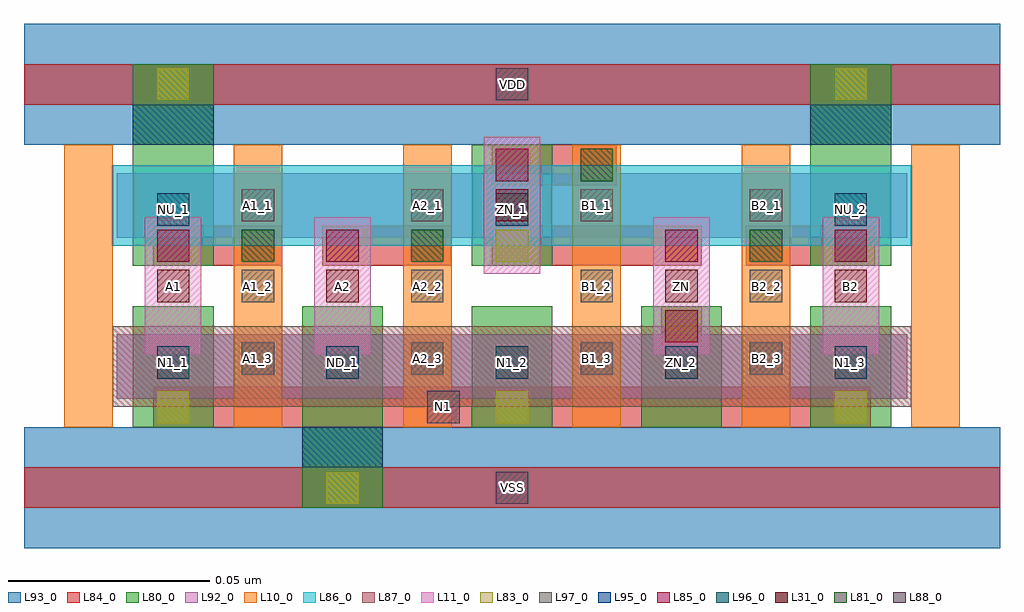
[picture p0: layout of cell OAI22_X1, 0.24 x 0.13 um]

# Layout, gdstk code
import gdstk
lib = gdstk.Library(unit=1e-6, precision=1e-09)
def R(c, l, rs):  # rectangles x0, y0, x1, y1
    for r in rs: c.add(gdstk.rectangle(r[:2], r[2:], *l))
def A(c, l, x, y, w, h, nx, ny, dx, dy):  # array of equal rectangles
    R(c, l, [(x+i*dx, y+j*dy, x+i*dx+w, y+j*dy+h) for i in range(nx) for j in range(ny)])
L10_0 = (10, 0)
L11_0 = (11, 0)
L31_0 = (31, 0)
L80_0 = (80, 0)
L81_0 = (81, 0)
L83_0 = (83, 0)
L84_0 = (84, 0)
L85_0 = (85, 0)
L86_0 = (86, 0)
L87_0 = (87, 0)
L88_0 = (88, 0)
L92_0 = (92, 0)
L93_0 = (93, 0)
L95_0 = (95, 0)
L96_0 = (96, 0)
L97_0 = (97, 0)

oai22_x1 = lib.new_cell('OAI22_X1')
A(oai22_x1, L10_0, -0.027, 0.015, 0.012, 0.07, 6, 1, 0.042, 0)
R(oai22_x1, L11_0, [(-0.007,0.033,0.007,0.067), (0.035,0.033,0.049,0.067), (0.119,0.033,0.133,0.067), (0.119,0.033,0.133,0.067), (0.161,0.033,0.175,0.067), (0.077,0.053,0.091,0.087)])
R(oai22_x1, L31_0, [(-0.004,0.046,0.004,0.054), (0.038,0.046,0.046,0.054), (0.122,0.046,0.13,0.054), (0.164,0.046,0.172,0.054), (0.08,0.066,0.088,0.074)])
A(oai22_x1, L80_0, -0.01, 0.015, 0.02, 0.03, 5, 1, 0.042, 0)
A(oai22_x1, L80_0, -0.01, 0.055, 0.02, 0.03, 3, 1, 0.084, 0)
R(oai22_x1, L80_0, [(0.032,-0.005,0.052,0.025), (-0.01,0.075,0.01,0.105), (0.158,0.075,0.178,0.105)])
R(oai22_x1, L81_0, [(0.017,0.056,0.025,0.064), (0.059,0.056,0.067,0.064), (0.143,0.056,0.151,0.064), (0.101,0.076,0.109,0.084)])
R(oai22_x1, L83_0, [(0.038,-0.004,0.046,0.004), (-0.004,0.016,0.004,0.024), (-0.004,0.016,0.004,0.024), (0.08,0.016,0.088,0.024), (0.08,0.016,0.088,0.024), (0.164,0.016,0.172,0.024), (0.164,0.016,0.172,0.024), (0.122,0.036,0.13,0.044), (0.122,0.036,0.13,0.044), (0.08,0.056,0.088,0.064), (0.08,0.056,0.088,0.064), (-0.004,0.096,0.004,0.104), (0.164,0.096,0.172,0.104)])
A(oai22_x1, L84_0, -0.005, 0.055, 0.032, 0.01, 3, 1, 0.042, 0)
R(oai22_x1, L84_0, [(-0.037,-0.005,0.205,0.005), (-0.005,0.015,0.026,0.025), (-0.005,0.015,0.026,0.025), (0.016,0.015,0.047,0.025), (0.016,0.015,0.047,0.025), (0.037,0.015,0.068,0.025), (0.037,0.015,0.068,0.025), (0.058,0.015,0.089,0.025), (0.058,0.015,0.089,0.025), (0.079,0.015,0.11,0.025), (0.079,0.015,0.11,0.025), (0.1,0.015,0.131,0.025), (0.1,0.015,0.131,0.025), (0.121,0.015,0.152,0.025), (0.121,0.015,0.152,0.025), (0.142,0.015,0.173,0.025), (0.142,0.015,0.173,0.025), (0.121,0.035,0.131,0.045), (0.121,0.035,0.131,0.045), (0.079,0.055,0.11,0.065), (0.1,0.055,0.131,0.065), (0.1,0.055,0.131,0.065), (0.142,0.055,0.174,0.065), (0.079,0.075,0.11,0.085), (-0.037,0.095,0.205,0.105)])
R(oai22_x1, L85_0, [(0.122,0.036,0.13,0.044), (0.122,0.036,0.13,0.044), (-0.004,0.056,0.004,0.064), (0.038,0.056,0.046,0.064), (0.122,0.056,0.13,0.064), (0.122,0.056,0.13,0.064), (0.164,0.056,0.172,0.064), (0.08,0.076,0.088,0.084)])
R(oai22_x1, L86_0, [(-0.015,0.06,0.183,0.08)])
R(oai22_x1, L87_0, [(-0.015,0.02,0.183,0.04)])
R(oai22_x1, L88_0, [(0.08,-0.004,0.088,0.004), (0.063,0.016,0.071,0.024), (0.08,0.096,0.088,0.104)])
R(oai22_x1, L92_0, [(-0.014,0.022,0.182,0.038), (-0.014,0.062,0.182,0.078)])
R(oai22_x1, L93_0, [(-0.037,-0.015,0.205,0.015), (-0.037,0.085,0.205,0.115)])
R(oai22_x1, L95_0, [(0.032,0.005,0.052,0.015), (-0.01,0.085,0.01,0.095), (0.158,0.085,0.178,0.095)])
A(oai22_x1, L96_0, -0.004, 0.027, 0.008, 0.008, 5, 1, 0.042, 0)
A(oai22_x1, L96_0, -0.004, 0.065, 0.008, 0.008, 3, 1, 0.084, 0)
A(oai22_x1, L97_0, 0.017, 0.028, 0.008, 0.008, 4, 2, 0.042, 0.018)
A(oai22_x1, L97_0, 0.017, 0.066, 0.008, 0.008, 4, 1, 0.042, 0)
oai22_x1.add(gdstk.Label('A1_3', (0.021,0.032), layer=97, texttype=0))
oai22_x1.add(gdstk.Label('A1_2', (0.021,0.05), layer=97, texttype=0))
oai22_x1.add(gdstk.Label('A1_1', (0.021,0.07), layer=97, texttype=0))
oai22_x1.add(gdstk.Label('A2_3', (0.063,0.032), layer=97, texttype=0))
oai22_x1.add(gdstk.Label('A2_2', (0.063,0.05), layer=97, texttype=0))
oai22_x1.add(gdstk.Label('A2_1', (0.063,0.07), layer=97, texttype=0))
oai22_x1.add(gdstk.Label('B1_1', (0.105,0.07), layer=97, texttype=0))
oai22_x1.add(gdstk.Label('B1_2', (0.105,0.05), layer=97, texttype=0))
oai22_x1.add(gdstk.Label('B1_3', (0.105,0.032), layer=97, texttype=0))
oai22_x1.add(gdstk.Label('B2_3', (0.147,0.032), layer=97, texttype=0))
oai22_x1.add(gdstk.Label('B2_2', (0.147,0.05), layer=97, texttype=0))
oai22_x1.add(gdstk.Label('B2_1', (0.147,0.07), layer=97, texttype=0))
oai22_x1.add(gdstk.Label('NU_1', (0,0.069), layer=96, texttype=0))
oai22_x1.add(gdstk.Label('N1_1', (0,0.031), layer=96, texttype=0))
oai22_x1.add(gdstk.Label('ZN_1', (0.084,0.069), layer=96, texttype=0))
oai22_x1.add(gdstk.Label('N1_2', (0.084,0.031), layer=96, texttype=0))
oai22_x1.add(gdstk.Label('N1_3', (0.168,0.031), layer=96, texttype=0))
oai22_x1.add(gdstk.Label('NU_2', (0.168,0.069), layer=96, texttype=0))
oai22_x1.add(gdstk.Label('ZN_2', (0.126,0.031), layer=96, texttype=0))
oai22_x1.add(gdstk.Label('ND_1', (0.042,0.031), layer=96, texttype=0))
oai22_x1.add(gdstk.Label('VSS', (0.084,0), layer=88, texttype=0))
oai22_x1.add(gdstk.Label('VDD', (0.084,0.1), layer=88, texttype=0))
oai22_x1.add(gdstk.Label('N1', (0.067,0.02), layer=88, texttype=0))
oai22_x1.add(gdstk.Label('ZN', (0.126,0.05), layer=31, texttype=0))
oai22_x1.add(gdstk.Label('A1', (0,0.05), layer=31, texttype=0))
oai22_x1.add(gdstk.Label('A2', (0.042,0.05), layer=31, texttype=0))
oai22_x1.add(gdstk.Label('B1', (0.084,0.07), layer=31, texttype=0))
oai22_x1.add(gdstk.Label('B2', (0.168,0.05), layer=31, texttype=0))

lib.write_gds('OAI22_X1.gds')
